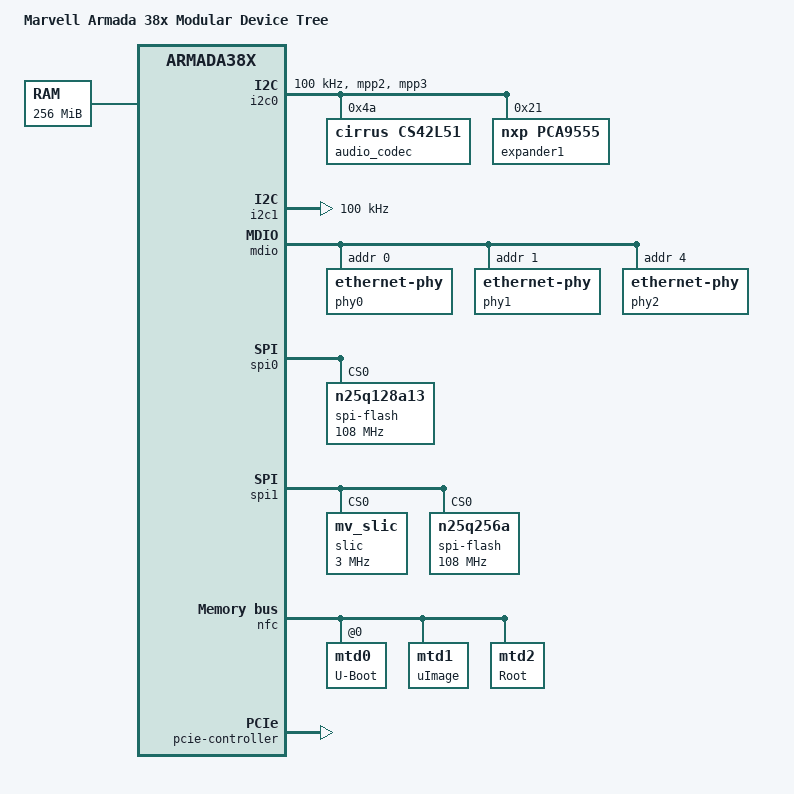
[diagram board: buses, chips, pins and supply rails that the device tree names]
/*
 * Device Tree file for Marvell Armada 38x boards: Modular file to be updated by U-Boot board-setup
 * (DB-88F6820)
 *
 *  Copyright (C) 2013 Marvell
 *
 * Thomas Petazzoni <thomas.petazzoni@free-electrons.com>
 *
 * This file is licensed under the terms of the GNU General Public
 * License version 2.  This program is licensed "as is" without any
 * warranty of any kind, whether express or implied.
 */

/dts-v1/;
#include <dt-bindings/gpio/gpio.h>
#include "armada-385-388.dtsi"

/ {
	model = "Marvell Armada 38x Modular Device Tree";
	compatible = "marvell,a385-db", "marvell,armada385", "marvell,armada38x";

	chosen {
		bootargs = "console=ttyS0,115200 earlyprintk";
	};

	memory {
		device_type = "memory";
		reg = <0x00000000 0x10000000>; /* 256 MB */
	};

	soc {

		internal-regs {
			ethernet@70000 {
				phy = <&phy0>;
				phy-mode = "rgmii";	/* RGMII for DB-BP, DB-GP, & DB-381 */
			};

			ethernet@30000 {
				phy = <&phy1>;
				phy-mode = "rgmii";	/* RGMII for DB-BP, DB-GP, & DB-381 */
			};

			ethernet@34000 {
				phy = <&phy2>;
				phy-mode = "sgmii";	/* SGMII for DB-AP */
			};

			i2c0: i2c@11000 {
				pinctrl-names = "default";
				pinctrl-0 = <&i2c0_pins>;
				status = "okay";
				clock-frequency = <100000>;
				audio_codec: audio-codec@4a {
					compatible = "cirrus,cs42l51";
					reg = <0x4a>;
				};

				expander1: pca9555@21 {
					compatible = "nxp,pca9555";
					pinctrl-names = "default";
					gpio-controller;
					#gpio-cells = <2>;
					reg = <0x21>;
				};
			};

			i2c1: i2c@11100 {
				status = "okay";
				clock-frequency = <100000>;
			};

			mdio {
				phy0: ethernet-phy@0 {
					reg = <0>;	/* PHY address = 0x0 for DB-BP, DB-GP, & DB-381 */
				};

				phy1: ethernet-phy@1 {
					reg = <1>;	/* PHY address = 0x1 for DB-BP, DB-GP, & DB-381 */
				};

				phy2: ethernet-phy@2 {
					reg = <4>;	/* PHY address = 0x4 for DB-AP */
				};
			};

			sdhci@d8000 {
				broken-cd;
				wp-inverted;
				bus-width = <8>;
				no-1-8-v;
			};

			spi0: spi@10600 {
				spi-flash@0 {
					#address-cells = <1>;
					#size-cells = <1>;
					compatible = "n25q128a13"; /* this flash is used for DB-BP, DB-GP and DB-BP381 */
					reg = <0>; /* Chip select 0 */
					spi-max-frequency = <108000000>;
					mtd0@00000000 {
						label = "U-Boot";
						reg = <0x00000000 0x00400000>;
						read-only;
					};

					mtd1@00400000 {
						label = "Root";
						reg = <0x00400000 0x00c00000>;
					};
				};
			};

			spi1: spi@10680 {
				pinctrl-0 = <&spi1_pins>;
				pinctrl-names = "default";

				slic@0 {
					#address-cells = <1>;
					#size-cells = <0>;
					compatible = "mv_slic";
					reg = <0>; /* Chip select 0 */
					spi-max-frequency = <3000000>;
					spi-1byte-cs;
					spi-cpol;
					spi-cpha;
				};
				spi-flash@0 {
					#address-cells = <1>;
					#size-cells = <1>;
					compatible = "n25q256a"; /* this flash is used for AMC board */
					reg = <0>; /* Chip select 0 */
					spi-max-frequency = <108000000>;
					mtd0@00000000 {
						label = "U-Boot";
						reg = <0x00000000 0x00400000>;
						read-only;
					};

					mtd1@00400000 {
						label = "Root";
						reg = <0x00400000 0x00c00000>;
					};
				};
			};

			/*
			 * 1GB Flash via NFC NAND controller
			 * should be disabled when the board boots
			 * from SPI flash, since NFC shares the same
			 * pins with SPI0 and requires SLM-1358 jumper.
			 * However the u-boot DTB parser will
			 * handle this situation and disable/remove
			 * unnessesary devices according to board
			 * boot-up configuration.
			 */
			nfc: nand@d0000 {
				#address-cells = <1>;
				#size-cells = <1>;

				nfc,nfc-mode  = "normal";	/* normal or ganged */
				nfc,nfc-dma   = <0>;		/* 0 for no, 1 for dma */
				nfc,nfc-width = <8>;
				nfc,ecc-type  = <1>;		/* 4 bit */
				nfc,num-cs    = <1>;

				mtd0@00000000 {
					label = "U-Boot";
					reg = <0x00000000 0x00600000>;
					read-only;
				};

				mtd1@00600000 {
					label = "uImage";
					reg = <0x00600000 0x00400000>;
					read-only;
				};

				mtd2@00a00000 {
					label = "Root";
					reg = <0x00a00000 0x3f600000>;
				};
			};

			usb@58000 {
				status = "disabled";
			};

			usb3@f0000 {
				status = "disabled";
			};

			usb3@f8000 {
				status = "disabled";
			};

			crypto@9D000 {
				status = "okay";
			};

			pm_pic {
				pinctrl-0 = <&pic_pins>;
				pinctrl-names = "default";
				ctrl-gpios = <&gpio1 1 GPIO_ACTIVE_LOW>,	/* mpp33: default for DB-GP */
					     <&gpio1 2 GPIO_ACTIVE_LOW>,	/* mpp34: default for DB-GP */
					     <&gpio1 3 GPIO_ACTIVE_LOW>,	/* mpp35: default for DB-GP */
					     <&gpio0 21 GPIO_ACTIVE_LOW>,       /* mpp21: default for DB-AP */
				             <&gpio0 47 GPIO_ACTIVE_LOW>;       /* mpp47: default for DB-AP */

			};

			pinctrl {
				pic_pins: pic-pins-0 {
					marvell,pins = "mpp33", "mpp34", "mpp35";	/* default for DB-GP */
					marvell,function = "gpio";
				};

				i2c0_pins: i2c-pins-0 {
					marvell,pins = "mpp2", "mpp3";
					marvell,function = "i2c0";
				};

				xhci0_vbus_pins: xhci0-vbus-pins {
					marvell,pins = "mpp44";
					marvell,function = "gpio";
				};
			};

			tdm@b0000 {
				pinctrl-0 = <&tdm_pins>;
				pinctrl-names = "default";
				pclk-freq-mhz = <8>;
			};

			audio-controller@e8000 {
				pinctrl-0 = <&i2s_pins>;
				pinctrl-names = "default";
			};
		};

		pcie-controller {
			status = "okay";
		};
	};

	/* usb3 vbus controlled via gpio expander1 */
	usb3_phy_exp1: usb3-phy-exp1 {
		status = "disabled";
		compatible = "usb-nop-xceiv";
		vcc-supply = <&reg_usb3_vbus_exp1>;
	};

	reg_usb3_vbus_exp1: usb3-vbus-exp1 {
		status = "disabled";
		compatible = "mv,vbus-regulator";
		regulator-name = "usb3-vbus";
		regulator-min-microvolt = <5000000>;
		regulator-max-microvolt = <5000000>;
		enable-active-high;
		regulator-always-on;
		regulator-boot-on;
		gpio = <&expander1 15 GPIO_ACTIVE_HIGH>;
		regulator-state-mem {
			regulator-off-in-suspend;
		};
	};

	/* usb3 vbus controlled via gpio pin */
	usb3_phy_gpio: usb3-phy-gpio {
		status = "disabled";
		compatible = "usb-nop-xceiv";
		vcc-supply = <&reg_usb3_vbus_gpio>;
	};

	reg_usb3_vbus_gpio: usb3-vbus-gpio {
		status = "disabled";
		compatible = "mv,vbus-regulator";
		pinctrl-names = "default";
		pinctrl-0 = <&xhci0_vbus_pins>;
		regulator-name = "xhci0-vbus";
		regulator-min-microvolt = <5000000>;
		regulator-max-microvolt = <5000000>;
		enable-active-high;
		regulator-always-on;
		gpio = <&gpio1 12 GPIO_ACTIVE_HIGH>;
		regulator-state-mem {
			regulator-off-in-suspend;
		};
	};

        sound {
                compatible = "marvell,a385db-audio";
                marvell,audio-codec = <&audio_codec &spdif_out &spdif_in>;
        };
};
